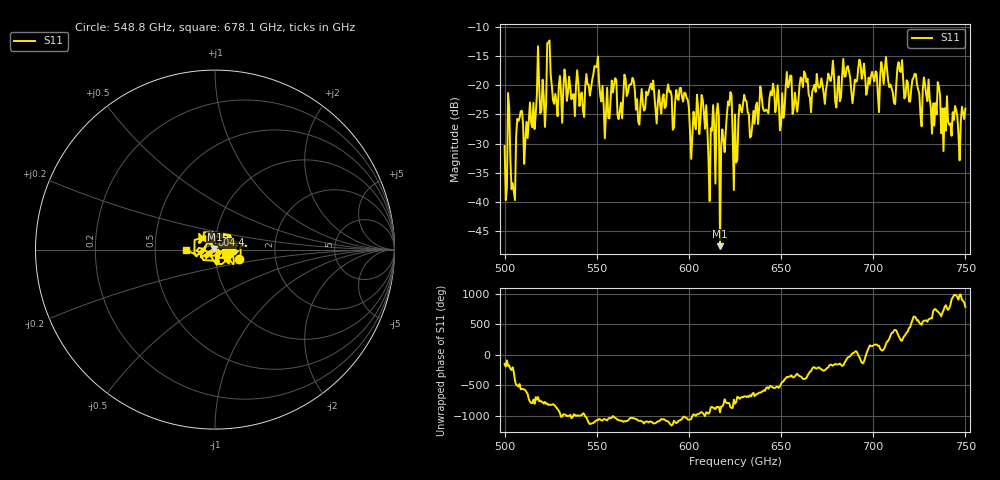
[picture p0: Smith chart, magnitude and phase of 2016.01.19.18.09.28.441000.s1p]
!Created with skrf (http://scikit-rf.org).
# GHz S RI R 50.0
!freq ReS11 ImS11
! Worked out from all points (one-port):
!   401 points, 500 GHz to 750 GHz, reference 50 ohm
!   lowest |S11| = -47.6 dB at 616.9 GHz (marker M1), VSWR 1.01, Z = 49.7 + j0.294 ohm
!   |S11| at or under -10 dB: start of sweep to end of sweep
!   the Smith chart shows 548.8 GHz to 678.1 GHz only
!   S11 on the Smith chart (normalised r, x): 548.8 GHz: 1.30, -0.15; 604.4 GHz: 0.95, +0.15; 678.1 GHz: 0.72, -0.00
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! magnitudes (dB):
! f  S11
! 500 GHz  -30.4
! 503.1 GHz  -32.7
! 504.4 GHz  -36.8
! 508.1 GHz  -25.6
! 511.2 GHz  -29.4
! 521.2 GHz  -22.1
! 524.4 GHz  -12.3
! 527.5 GHz  -21.5
! 531.2 GHz  -26.4
! 541.9 GHz  -21.2
! 548.8 GHz  -16.7
! 562.5 GHz  -24.4
! 568.8 GHz  -19.9
! 572.5 GHz  -26.3
! 593.8 GHz  -22.2
! 604.4 GHz  -21.6
! 616.9 GHz  -47.6
! 618.1 GHz  -27.6
! 621.9 GHz  -23.5
! 625 GHz  -25.0
! 628.8 GHz  -24.7
! 656.2 GHz  -24.9
! 678.1 GHz  -15.8
! 687.5 GHz  -18.8
! 711.2 GHz  -23.0
! 714.4 GHz  -17.6
! 718.8 GHz  -19.5
! 750 GHz  -24.0
